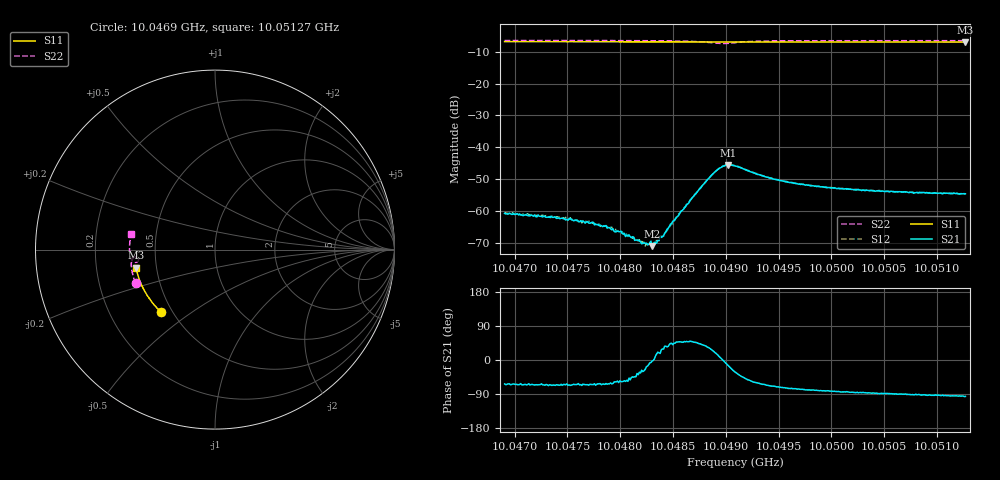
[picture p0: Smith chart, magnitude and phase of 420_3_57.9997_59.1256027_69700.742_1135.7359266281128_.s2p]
#  HZ  S  RI  R  50.00
! Rohde & Schwarz Vector Network Analyzer
! Rohde-Schwarz,ZNB20-2Port,1311601062101988,3.16
! Created: UTC 3/21/2024, 1:09:07 AM
! freq[Hz]  re:S11  im:S11  re:S21  im:S21  re:S12  im:S12  re:S22  im:S22
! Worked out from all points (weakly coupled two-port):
!   401 points, 10.0469 GHz to 10.05127 GHz, reference 50 ohm
!   highest |S21| = -45.59 dB at 10.04902 GHz (marker M1); lowest = -71.1 dB at 10.0483 GHz (marker M2)
!   lowest |S11| = -6.9 dB at 10.05127 GHz (marker M3), VSWR 2.65, Z = 19.1 - j4.83 ohm
!   |S11| at or under -10 dB: nowhere
!   |S22| runs from -7.3 to -6.4 dB; largest |S21 - S12| = 0.00038
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1.0046905e10  -0.3021 -0.3466  0.000409 -0.000812  0.000469 -0.000816  -0.4427 -0.1857
1.0047363e10  -0.3236 -0.3251  0.000317 -0.000714  0.000395 -0.000709  -0.453 -0.1564
1.0047636e10  -0.3357 -0.3118  0.000263 -0.000621  0.000316 -0.000558  -0.4582 -0.1381
1.0047843e10  -0.3445 -0.3014  0.000258 -0.000515  0.000288 -0.000493  -0.4614 -0.1238
1.004793e10  -0.3482 -0.2969  0.000243 -0.000457  0.000275 -0.000422  -0.4627 -0.1176
1.0047996e10  -0.3508 -0.2936  0.000268 -0.000384  0.000286 -0.000383  -0.4636 -0.1129
1.0048203e10  -0.359 -0.2827  0.000269 -0.000137  0.000288 -0.000161  -0.4659 -0.0976
1.0048247e10  -0.3607 -0.2804  0.000293 -9.71e-05  0.00029 -9.2e-05  -0.4663 -0.094
1.0048301e10  -0.3629 -0.2775  0.000279 -1.39e-05  0.000283 1.87e-05  -0.4664 -0.0897
1.0048323e10  -0.3638 -0.2764  0.000317 1.65e-05  0.000306 6.36e-05  -0.4667 -0.0878
1.0048367e10  -0.3655 -0.274  0.000318 0.000111  0.000328 0.00016  -0.4667 -0.0844
1.0048421e10  -0.3674 -0.2709  0.000356 0.000263  0.000344 0.000278  -0.4667 -0.0796
1.0048487e10  -0.3697 -0.2676  0.000455 0.000438  0.000442 0.000449  -0.4662 -0.0739
1.0048574e10  -0.3731 -0.2627  0.000662 0.000723  0.00059 0.000769  -0.465 -0.0656
1.0048847e10  -0.3824 -0.2473  0.00287 0.00173  0.00277 0.00189  -0.4438 -0.0417
1.0048945e10  -0.3855 -0.242  0.0047 0.000586  0.00467 0.000896  -0.4283 -0.0483
1.0049021e10  -0.388 -0.2378  0.00508 -0.00133  0.0052 -0.00102  -0.428 -0.0626
1.0049087e10  -0.3902 -0.2343  0.00432 -0.00268  0.00455 -0.00237  -0.4372 -0.0703
1.0049458e10  -0.4019 -0.2128  0.00112 -0.00294  0.00127 -0.00292  -0.4701 -0.0444
1.0049818e10  -0.4119 -0.1913  0.000465 -0.00243  0.000588 -0.00244  -0.4756 -0.0148
1.0050549e10  -0.4289 -0.1465  5.07e-05 -0.00198  0.000132 -0.00201  -0.4749 0.0375
1.0051269e10  -0.4407 -0.1008  -0.000196 -0.00184  -7.06e-05 -0.00183  -0.4684 0.0857
